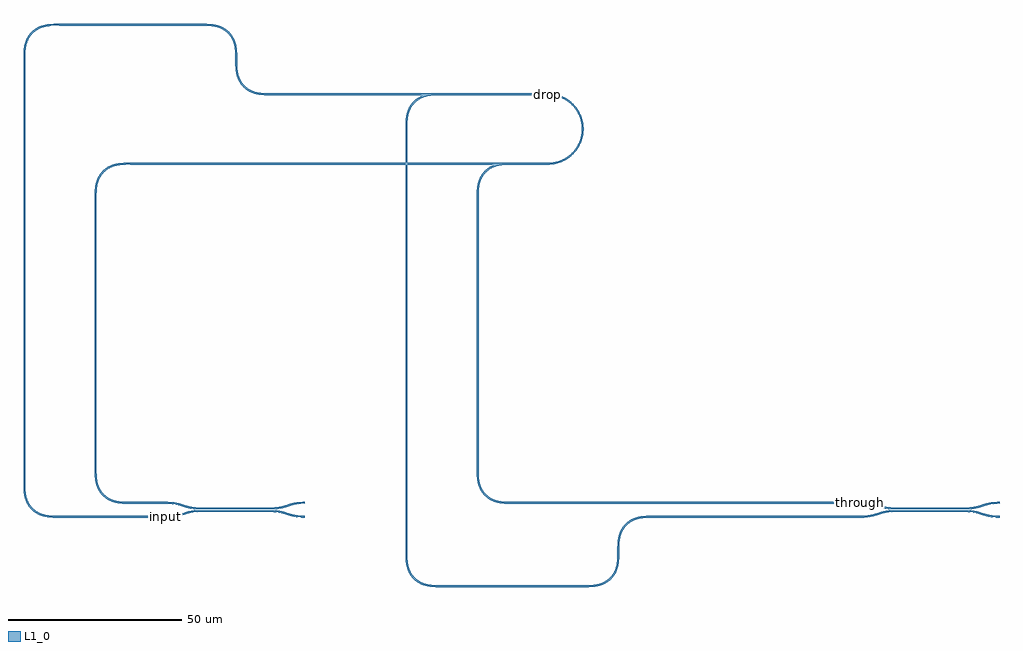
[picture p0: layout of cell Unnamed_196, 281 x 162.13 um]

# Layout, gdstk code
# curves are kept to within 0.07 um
from math import pi, radians
import gdstk
lib = gdstk.Library(unit=1e-6, precision=1e-09)
def R(c, l, rs):  # rectangles x0, y0, x1, y1
    for r in rs: c.add(gdstk.rectangle(r[:2], r[2:], *l))
def P(c, l, *ps):  # polygons
    for p in ps: c.add(gdstk.Polygon(p, *l))
L1_0 = (1, 0)

coupler_gdsfactorypcompo = lib.new_cell('coupler_gdsfactorypcomponentspcouplerspcoupler_G0p236_L_75dd060a')
P(coupler_gdsfactorypcompo, L1_0, [(-10,-1.882),(-10,-1.382),(-8.633,-1.335),(-7.417,-1.193),(-6.249,-0.938),(-3.065,-0.019),(-1.652,0.182),(-0.303,0.248),(21.144,0.219),(23.349,-0.08),(27.222,-1.159),(28.511,-1.326),(30,-1.382),(30,-1.882),(27.877,-1.764),(26.291,-1.466),(23.059,-0.528),(20.854,-0.267),(-0.297,-0.252),(-1.725,-0.327),(-3.059,-0.528),(-6.034,-1.397),(-7.335,-1.686),(-8.597,-1.834)],
  [(0,0.486),(-1.403,0.534),(-2.665,0.682),(-3.796,0.925),(-7.126,1.877),(-8.511,2.062),(-10,2.118),(-10,2.618),(-8.597,2.57),(-7.335,2.422),(-6.204,2.179),(-2.874,1.227),(-1.489,1.042),(0,0.986),(21.116,1.016),(23.24,1.303),(27.032,2.368),(28.348,2.55),(30,2.618),(30,2.118),(28.511,2.062),(27.222,1.895),(26.086,1.629),(23.532,0.858),(21.403,0.534)])

bend_circular_gdsfactory = lib.new_cell('bend_circular_gdsfactorypcomponentspbendspbend_circular_4b1750de')
P(bend_circular_gdsfactory, L1_0, [(0,-0.25),(0,0.25),(1.232,0.328),(2.204,0.502),(3.154,0.774),(4.294,1.246),(5.771,2.141),(7.067,3.283),(8.141,4.635),(8.642,5.486),(9.054,6.383),(9.374,7.318),(9.597,8.28),(9.75,10),(9.597,11.72),(9.374,12.682),(9.054,13.617),(8.642,14.514),(8.141,15.365),(7.067,16.717),(5.771,17.859),(4.294,18.754),(3.154,19.226),(2.204,19.498),(1.232,19.672),(0,19.75),(0,20.25),(1.037,20.197),(2.063,20.04),(3.802,19.519),(4.746,19.085),(5.641,18.558),(6.477,17.944),(7.248,17.248),(7.944,16.477),(8.558,15.641),(9.085,14.746),(9.519,13.802),(10.04,12.063),(10.197,11.037),(10.25,10),(10.197,8.963),(10.04,7.937),(9.519,6.198),(9.085,5.254),(8.558,4.359),(7.944,3.523),(7.248,2.752),(6.477,2.056),(5.641,1.442),(4.746,0.915),(3.802,0.481),(2.063,-0.04),(1.037,-0.197)])

bend_euler_gdsfactorypco = lib.new_cell('bend_euler_gdsfactorypcomponentspbendspbend_euler_R10_A_335c8724')
P(bend_euler_gdsfactorypco, L1_0, [(0,-0.25),(0,0.25),(2.881,0.353),(3.952,0.52),(4.99,0.806),(6.431,1.505),(7.575,2.425),(8.495,3.569),(9.194,5.01),(9.48,6.048),(9.647,7.119),(9.75,10),(10.25,10),(10.158,7.205),(9.797,5.254),(9.457,4.312),(9.066,3.545),(8.5,2.715),(7.928,2.072),(7.285,1.5),(6.455,0.934),(5.688,0.543),(4.746,0.203),(2.795,-0.158)])

straight_gdsfactorypcomp = lib.new_cell('straight_gdsfactorypcomponentspwaveguidespstraight_L10p_f8441c0e')
R(straight_gdsfactorypcomp, L1_0, [(0,-0.25,10.25,0.25)])

c_straight_gdsfactorypcomp = lib.new_cell('straight_gdsfactorypcomponentspwaveguidespstraight_L77p_ae4d5b10')
R(c_straight_gdsfactorypcomp, L1_0, [(0,-0.25,77.632,0.25)])

c_straight_gdsfactorypcomp_ = lib.new_cell('straight_gdsfactorypcomponentspwaveguidespstraight_L120_53d7bd2f')
R(c_straight_gdsfactorypcomp_, L1_0, [(0,-0.25,120.25,0.25)])

c_straight_gdsfactorypcomp__ = lib.new_cell('straight_gdsfactorypcomponentspwaveguidespstraight_L30p_ef7c396d')
R(c_straight_gdsfactorypcomp__, L1_0, [(0,-0.25,30.75,0.25)])

c_straight_gdsfactorypcomp___ = lib.new_cell('straight_gdsfactorypcomponentspwaveguidespstraight_L121_dff3eef2')
R(c_straight_gdsfactorypcomp___, L1_0, [(0,-0.25,121.632,0.25)])

c_straight_gdsfactorypcomp____ = lib.new_cell('straight_gdsfactorypcomponentspwaveguidespstraight_L41p_7b81e88e')
R(c_straight_gdsfactorypcomp____, L1_0, [(0,-0.25,41.001,0.25)])

c_straight_gdsfactorypcomp_____ = lib.new_cell('straight_gdsfactorypcomponentspwaveguidespstraight_L79p_09f2b5ee')
R(c_straight_gdsfactorypcomp_____, L1_0, [(0,-0.25,79.749,0.25)])

c_straight_gdsfactorypcomp______ = lib.new_cell('straight_gdsfactorypcomponentspwaveguidespstraight_L59p_9d3a88e2')
R(c_straight_gdsfactorypcomp______, L1_0, [(0,-0.25,59.749,0.25)])

c_straight_gdsfactorypcomp_______ = lib.new_cell('straight_gdsfactorypcomponentspwaveguidespstraight_L100_9467053f')
R(c_straight_gdsfactorypcomp_______, L1_0, [(0,-0.25,100.25,0.25)])

unnamed_196 = lib.new_cell('Unnamed_196')
P(unnamed_196, L1_0, [(-10,-1.882),(-10.25,-1.632),(-10.062,-1.444),(-10.025,-1.444),(-10.215,-1.632),(-10.025,-1.632),(-10.025,-1.444),(-10.062,-1.444),(-10,-1.382)],
  [(190,2.118),(189.75,2.368),(189.938,2.556),(189.975,2.556),(189.785,2.368),(189.975,2.368),(189.975,2.556),(189.938,2.556),(190,2.618)],
  [(100,119.75),(99.75,120),(99.938,120.188),(99.975,120.188),(99.785,120),(99.975,120),(99.975,120.188),(99.938,120.188),(100,120.25)])
unnamed_196.add(gdstk.Reference(coupler_gdsfactorypcompo, (0,0)))
unnamed_196.add(gdstk.Reference(coupler_gdsfactorypcompo, (200,0)))
unnamed_196.add(gdstk.Reference(bend_circular_gdsfactory, (100,100)))
unnamed_196.add(gdstk.Reference(bend_euler_gdsfactorypco, (-30.25,12.368), rotation=3*pi/2))
unnamed_196.add(gdstk.Reference(straight_gdsfactorypcomp, (-10,2.368), rotation=pi))
unnamed_196.add(gdstk.Reference(bend_euler_gdsfactorypco, (-20.25,100), rotation=pi))
unnamed_196.add(gdstk.Reference(c_straight_gdsfactorypcomp, (-30.25,12.368), rotation=pi/2))
unnamed_196.add(gdstk.Reference(c_straight_gdsfactorypcomp_, (-20.25,100)))
unnamed_196.add(gdstk.Reference(bend_euler_gdsfactorypco, (-50.75,8.368), rotation=3*pi/2))
unnamed_196.add(gdstk.Reference(c_straight_gdsfactorypcomp__, (-10,-1.632), rotation=pi))
unnamed_196.add(gdstk.Reference(bend_euler_gdsfactorypco, (-40.75,140), rotation=pi))
unnamed_196.add(gdstk.Reference(c_straight_gdsfactorypcomp___, (-50.75,8.368), rotation=pi/2))
unnamed_196.add(gdstk.Reference(bend_euler_gdsfactorypco, (10.251,130), rotation=pi/2))
unnamed_196.add(gdstk.Reference(c_straight_gdsfactorypcomp____, (-40.75,140)))
unnamed_196.add(gdstk.Reference(bend_euler_gdsfactorypco, (20.251,120), rotation=pi, x_reflection=True))
unnamed_196.add(gdstk.Reference(c_straight_gdsfactorypcomp_____, (20.251,120)))
unnamed_196.add(gdstk.Reference(bend_euler_gdsfactorypco, (59.25,110), rotation=pi/2, x_reflection=True))
unnamed_196.add(gdstk.Reference(c_straight_gdsfactorypcomp__, (100,120), rotation=pi))
unnamed_196.add(gdstk.Reference(bend_euler_gdsfactorypco, (69.25,-21.632), rotation=pi, x_reflection=True))
unnamed_196.add(gdstk.Reference(c_straight_gdsfactorypcomp___, (59.25,110), rotation=3*pi/2))
unnamed_196.add(gdstk.Reference(bend_euler_gdsfactorypco, (120.251,-11.632), rotation=3*pi/2, x_reflection=True))
unnamed_196.add(gdstk.Reference(c_straight_gdsfactorypcomp____, (69.25,-21.632)))
unnamed_196.add(gdstk.Reference(bend_euler_gdsfactorypco, (130.251,-1.632), rotation=pi))
unnamed_196.add(gdstk.Reference(c_straight_gdsfactorypcomp______, (130.251,-1.632)))
unnamed_196.add(gdstk.Reference(bend_euler_gdsfactorypco, (79.75,90), rotation=pi/2, x_reflection=True))
unnamed_196.add(gdstk.Reference(straight_gdsfactorypcomp, (100,100), rotation=pi))
unnamed_196.add(gdstk.Reference(bend_euler_gdsfactorypco, (89.75,2.368), rotation=pi, x_reflection=True))
unnamed_196.add(gdstk.Reference(c_straight_gdsfactorypcomp, (79.75,90), rotation=3*pi/2))
unnamed_196.add(gdstk.Reference(c_straight_gdsfactorypcomp_______, (89.75,2.368)))
unnamed_196.add(gdstk.Label('input', (-10,-1.632), layer=1, texttype=0))
unnamed_196.add(gdstk.Label('through', (190,2.368), layer=1, texttype=0))
unnamed_196.add(gdstk.Label('drop', (100,120), layer=1, texttype=0))

lib.write_gds('Unnamed_196.gds')
